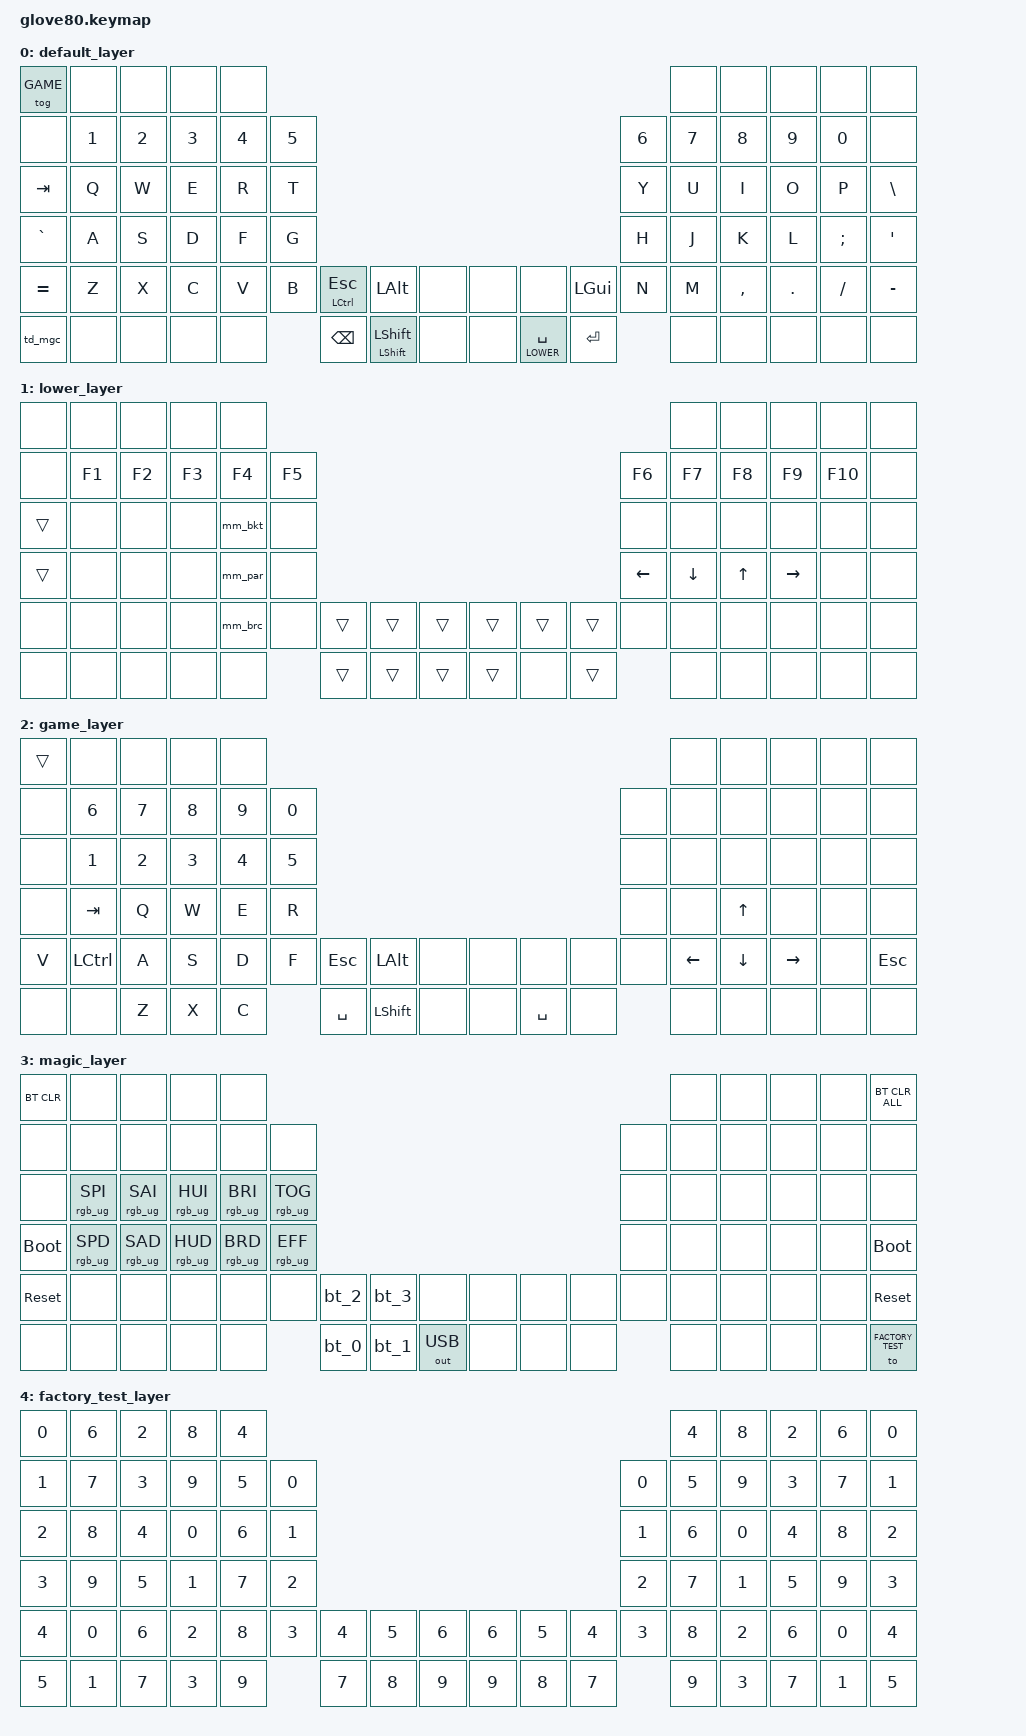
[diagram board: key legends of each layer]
/*
 * Copyright (c) 2020 The ZMK Contributors
 *
 * SPDX-License-Identifier: MIT
 */

#include <behaviors.dtsi>
#include <dt-bindings/zmk/keys.h>
#include <dt-bindings/zmk/modifiers.h>
#include <dt-bindings/zmk/bt.h>
#include <dt-bindings/zmk/ext_power.h>
#include <dt-bindings/zmk/outputs.h>
#include <dt-bindings/zmk/rgb.h>

#define HYPER LC(LS(LG(LALT)))

// layers
#define DEFAULT 0
#define LOWER 1
#define GAME 2
#define MAGIC 3
#define FACTORY_TEST 4

/ {
    behaviors {
        ht: hold_tap {
            compatible = "zmk,behavior-hold-tap";
            #binding-cells = <2>;
            flavor = "tap-preferred";
            tapping-term-ms = <180>;
            bindings = <&kp>, <&kp>;
        };

        ht_sk: hold_tap_sticky_key {
            compatible = "zmk,behavior-hold-tap";
            #binding-cells = <2>;
            flavor = "balanced";
            tapping-term-ms = <180>;
            bindings = <&kp>, <&skq>;
        };

        ht_mgc: hold_tap_magic {
            compatible = "zmk,behavior-hold-tap";
            #binding-cells = <2>;
            flavor = "tap-preferred";
            tapping-term-ms = <180>;
            bindings = <&mo>, <&rgb_ug_status_macro>;
        };

        mm_bkt: mod_morph_brackets {
            compatible = "zmk,behavior-mod-morph";
            #binding-cells = <0>;
            bindings = <&kp LBKT>, <&kp RBKT>;
            mods = <(MOD_LSFT|MOD_RSFT)>;
        };

        mm_brc: mod_morph_braces {
            compatible = "zmk,behavior-mod-morph";
            #binding-cells = <0>;
            bindings = <&kp LBRC>, <&kp RBRC>;
            mods = <(MOD_LSFT|MOD_RSFT)>;
        };

        mm_par: mod_morph_parenthesis {
            compatible = "zmk,behavior-mod-morph";
            #binding-cells = <0>;
            bindings = <&kp LPAR>, <&kp RPAR>;
            mods = <(MOD_LSFT|MOD_RSFT)>;
        };

        skq: sticky_key_quick_release {
            compatible = "zmk,behavior-sticky-key";
            #binding-cells = <1>;
            bindings = <&kp>;
            release-after-ms = <1000>;
            quick-release;
            ignore-modifiers;
        };
        
        td_mgc: tap_dance_magic {
            compatible = "zmk,behavior-tap-dance";
            #binding-cells = <0>;
            tapping-term-ms = <150>;
            bindings = <&mo MAGIC>, <&rgb_ug_status_macro>;
        };
    };

    macros {
        rgb_ug_status_macro: rgb_ug_status_macro_0 {
            compatible = "zmk,behavior-macro";
            #binding-cells = <0>;
            bindings
                = <&rgb_ug RGB_STATUS>;
        };

        bt_0: bt_profile_macro_0 {
            compatible = "zmk,behavior-macro";
            #binding-cells = <0>;
            bindings
                = <&out OUT_BLE>,
                  <&bt BT_SEL 0>;
        };

        bt_1: bt_profile_macro_1 {
            compatible = "zmk,behavior-macro";
            #binding-cells = <0>;
            bindings
                = <&out OUT_BLE>,
                  <&bt BT_SEL 1>;
        };

        bt_2: bt_profile_macro_2 {
            compatible = "zmk,behavior-macro";
            #binding-cells = <0>;
            bindings
                = <&out OUT_BLE>,
                  <&bt BT_SEL 2>;
        };

        bt_3: bt_profile_macro_3 {
            compatible = "zmk,behavior-macro";
            #binding-cells = <0>;
            bindings
                = <&out OUT_BLE>,
                  <&bt BT_SEL 3>;
        };
    };

    keymap {
        compatible = "zmk,keymap";

        default_layer {
            // --------------------------------------------------------------------------------------------------------------------------------------
            // | GAME  | NONE | NONE | NONE | NONE |                                                             | NONE | NONE | NONE | NONE | NONE |
            // | NONE  |  1   |  2   |  3   |  4   |  5   |                                               |   6  |   7  |   8  |   9  |   0  | NONE |
            // |  TAB  |  Q   |  W   |  E   |  R   |  T   |                                               |   Y  |   U  |   I  |   O  |   P  |   \  |
            // | GRAVE |  A   |  S   |  D   |  F   |  G   |                                               |   H  |   J  |   K  |   L  |   ;  |   '  |
            // |   =   |  Z   |  X   |  C   |  V   |  B   | LC_ES | LALT  | NONE | | NONE |  NONE  | LGUI |   N  |   M  |   ,  |   .  |   /  |   -  |
            // | MAGIC | NONE | NONE | NONE | NONE |      | BSPC  | LS_CW | NONE | | NONE | LWR_SP | RET  |      | NONE | NONE | NONE | NONE | NONE |

            bindings = <
            &tog GAME  &none   &none   &none   &none                                                                                              &none   &none      &none     &none     &none
            &none      &kp N1  &kp N2  &kp N3  &kp N4  &kp N5                                                                             &kp N6  &kp N7  &kp N8     &kp N9    &kp N0    &none
            &kp TAB    &kp Q   &kp W   &kp E   &kp R   &kp T                                                                              &kp Y   &kp U   &kp I      &kp O     &kp P     &kp BSLH
            &kp GRAVE  &kp A   &kp S   &kp D   &kp F   &kp G                                                                              &kp H   &kp J   &kp K      &kp L     &kp SEMI  &kp SQT
            &kp EQUAL  &kp Z   &kp X   &kp C   &kp V   &kp B   &ht LCTRL ESC  &kp LALT            &none  &none  &none            &kp LGUI &kp N   &kp M   &kp COMMA  &kp DOT   &kp FSLH  &kp MINUS
            &td_mgc    &none   &none   &none   &none           &kp BSPC       &ht_sk LSHFT LSHFT  &none  &none  &lt LOWER SPACE  &kp RET          &none   &none      &none     &none     &none
            >;

        };

        lower_layer {
            bindings = <
            &none   &none   &none   &none   &none                                                                          &none    &none   &none     &none   &none
            &none   &kp F1  &kp F2  &kp F3  &kp F4  &kp F5                                                        &kp F6   &kp F7   &kp F8  &kp F9    &kp F10 &none
            &trans  &none   &none   &none   &mm_bkt &none                                                         &none    &none    &none   &none     &none   &none
            &trans  &none   &none   &none   &mm_par &none                                                         &kp LEFT &kp DOWN &kp UP  &kp RIGHT &none   &none
            &none   &none   &none   &none   &mm_brc &none   &trans   &trans   &trans   &trans   &trans   &trans   &none    &none    &none   &none     &none   &none
            &none   &none   &none   &none   &none           &trans   &trans   &trans   &trans   &none    &trans            &none    &none   &none     &none   &none
            >;
        };

        game_layer {
            bindings = <
            &trans  &none     &none   &none   &none                                                                      &none    &none    &none     &none   &none
            &none   &kp N6    &kp N7  &kp N8  &kp N9  &kp N0                                                     &none   &none    &none    &none     &none   &none
            &none   &kp N1    &kp N2  &kp N3  &kp N4  &kp N5                                                     &none   &none    &none    &none     &none   &none
            &none   &kp TAB   &kp Q   &kp W   &kp E   &kp R                                                      &none   &none    &kp UP   &none     &none   &none
            &kp V   &kp LCTRL &kp A   &kp S   &kp D   &kp F   &kp ESC   &kp LALT  &none  &none  &none     &none  &none   &kp LEFT &kp DOWN &kp RIGHT &none   &kp ESC
            &none   &none     &kp Z   &kp X   &kp C           &kp SPACE &kp LSHFT &none  &none  &kp SPACE &none          &none    &none    &none     &none   &none
            >;
        };

        magic_layer {
            bindings = <
            &bt BT_CLR  &none           &none           &none           &none                                                                             &none  &none  &none  &none  &bt BT_CLR_ALL
            &none       &none           &none           &none           &none           &none                                                      &none  &none  &none  &none  &none  &none
            &none       &rgb_ug RGB_SPI &rgb_ug RGB_SAI &rgb_ug RGB_HUI &rgb_ug RGB_BRI &rgb_ug RGB_TOG                                            &none  &none  &none  &none  &none  &none
            &bootloader &rgb_ug RGB_SPD &rgb_ug RGB_SAD &rgb_ug RGB_HUD &rgb_ug RGB_BRD &rgb_ug RGB_EFF                                            &none  &none  &none  &none  &none  &bootloader
            &sys_reset  &none           &none           &none           &none           &none           &bt_2 &bt_3 &none        &none &none &none &none  &none  &none  &none  &none  &sys_reset
            &none       &none           &none           &none           &none                           &bt_0 &bt_1 &out OUT_USB &none &none &none        &none  &none  &none  &none  &to FACTORY_TEST
            >;
        };

        factory_test_layer {
            bindings = <
            &kp N0   &kp N6   &kp N2   &kp N8   &kp N4                                                                              &kp N4   &kp N8   &kp N2   &kp N6   &kp N0
            &kp N1   &kp N7   &kp N3   &kp N9   &kp N5   &kp N0                                                            &kp N0   &kp N5   &kp N9   &kp N3   &kp N7   &kp N1
            &kp N2   &kp N8   &kp N4   &kp N0   &kp N6   &kp N1                                                            &kp N1   &kp N6   &kp N0   &kp N4   &kp N8   &kp N2
            &kp N3   &kp N9   &kp N5   &kp N1   &kp N7   &kp N2                                                            &kp N2   &kp N7   &kp N1   &kp N5   &kp N9   &kp N3
            &kp N4   &kp N0   &kp N6   &kp N2   &kp N8   &kp N3   &kp N4   &kp N5   &kp N6      &kp N6   &kp N5   &kp N4   &kp N3   &kp N8   &kp N2   &kp N6   &kp N0   &kp N4
            &kp N5   &kp N1   &kp N7   &kp N3   &kp N9            &kp N7   &kp N8   &kp N9      &kp N9   &kp N8   &kp N7            &kp N9   &kp N3   &kp N7   &kp N1   &kp N5
            >;
        };
    };
};
